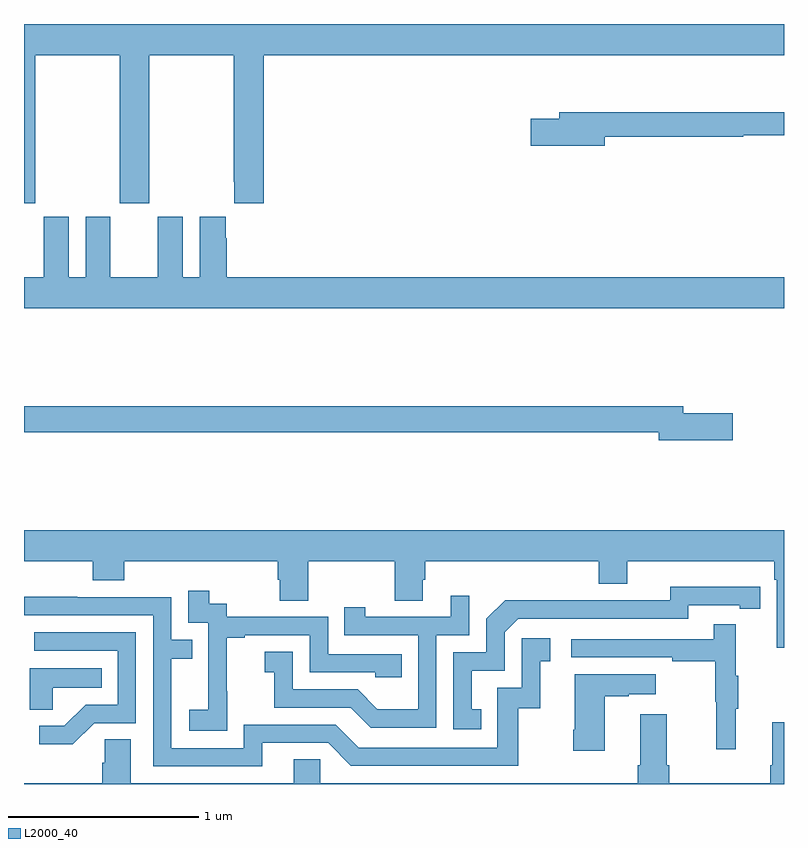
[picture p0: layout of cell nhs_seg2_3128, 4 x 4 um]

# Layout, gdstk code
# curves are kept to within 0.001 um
import gdstk
lib = gdstk.Library(unit=1e-6, precision=1e-09)
def P(c, l, *ps):  # polygons
    for p in ps: c.add(gdstk.Polygon(p, *l))
L2000_40 = (2000, 40)

nhs_seg2_3128 = lib.new_cell('nhs_seg2_3128')
P(nhs_seg2_3128, L2000_40, [(275,646.857),(275.058,646.857),(275.058,647.636),(275.503,647.636),(275.503,646.857),(275.658,646.857),(275.658,647.636),(276.103,647.636),(276.103,646.969),(276.107,646.969),(276.107,646.857),(276.263,646.857),(276.263,647.636),(279,647.636),(279,647.8),(275,647.8)],
  [(278.056,647.206),(278.786,647.206),(278.786,647.214),(279,647.214),(279,647.335),(277.817,647.335),(277.817,647.301),(277.668,647.301),(277.668,647.159),(278.056,647.159)],
  [(279,646.468),(276.068,646.468),(276.068,646.673),(276.061,646.673),(276.061,646.786),(275.924,646.786),(275.924,646.468),(275.836,646.468),(275.836,646.786),(275.705,646.786),(275.705,646.468),(275.455,646.468),(275.455,646.786),(275.324,646.786),(275.324,646.468),(275.236,646.468),(275.236,646.786),(275.105,646.786),(275.105,646.468),(275,646.468),(275,646.304),(279,646.304)],
  [(278.731,645.752),(278.47,645.752),(278.47,645.788),(275,645.788),(275,645.652),(278.342,645.652),(278.342,645.61),(278.731,645.61)],
  [(279,645.136),(275,645.136),(275,644.972),(275.363,644.972),(275.363,644.873),(275.528,644.873),(275.528,644.972),(276.335,644.972),(276.335,644.874),(276.347,644.874),(276.347,644.764),(276.495,644.764),(276.495,644.972),(276.952,644.972),(276.952,644.764),(277.099,644.764),(277.099,644.874),(277.112,644.874),(277.112,644.972),(278.024,644.972),(278.024,644.855),(278.176,644.855),(278.176,644.972),(278.948,644.972),(278.948,644.876),(278.961,644.876),(278.961,644.517),(279,644.517)],
  [(277.406,644.193),(277.357,644.193),(277.357,644.397),(277.53,644.397),(277.53,644.598),(277.602,644.67),(278.496,644.67),(278.496,644.742),(278.768,644.742),(278.768,644.722),(278.876,644.722),(278.876,644.838),(278.4,644.839),(278.4,644.766),(277.94,644.766),(277.94,644.768),(277.532,644.768),(277.434,644.67),(277.434,644.493),(277.26,644.493),(277.26,644.088),(277.406,644.088)],
  [(276.069,644.287),(276.068,644.287),(276.068,644.571),(276.163,644.571),(276.163,644.583),(276.504,644.583),(276.504,644.388),(276.849,644.388),(276.849,644.361),(276.989,644.361),(276.989,644.484),(276.6,644.484),(276.6,644.679),(276.066,644.679),(276.066,644.748),(275.974,644.748),(275.974,644.818),(275.865,644.818),(275.865,644.649),(275.97,644.649),(275.97,644.42),(275.969,644.42),(275.969,644.191),(275.871,644.191),(275.871,644.081),(276.069,644.081)],
  [(277.17,644.583),(277.344,644.583),(277.344,644.791),(277.247,644.791),(277.247,644.679),(276.796,644.679),(276.796,644.731),(276.685,644.731),(276.685,644.583),(277.074,644.583),(277.074,644.194),(276.86,644.194),(276.756,644.298),(276.414,644.298),(276.414,644.497),(276.267,644.497),(276.267,644.387),(276.316,644.387),(276.316,644.202),(276.719,644.202),(276.824,644.097),(277.17,644.097)],
  [(276.253,644.016),(276.6,644.016),(276.72,643.896),(277.6,643.896),(277.6,644.199),(277.718,644.199),(277.718,644.445),(277.771,644.445),(277.771,644.566),(277.62,644.566),(277.62,644.307),(277.491,644.307),(277.491,643.992),(276.762,643.992),(276.642,644.112),(276.156,644.112),(276.156,643.989),(275.775,643.989),(275.775,644.458),(275.885,644.458),(275.885,644.559),(275.775,644.559),(275.775,644.784),(275.279,644.784),(275.279,644.786),(275,644.786),(275,644.688),(275.679,644.688),(275.679,643.893),(276.253,643.893)],
  [(278.747,644.195),(278.758,644.195),(278.758,644.369),(278.747,644.369),(278.747,644.641),(278.629,644.641),(278.629,644.562),(277.881,644.562),(277.881,644.466),(278.413,644.466),(278.413,644.446),(278.637,644.446),(278.637,644.232),(278.644,644.232),(278.644,643.983),(278.747,643.983)],
  [(275.37,644.121),(275.589,644.121),(275.589,644.598),(275.055,644.598),(275.055,644.502),(275.493,644.502),(275.493,644.217),(275.324,644.217),(275.213,644.106),(275.079,644.106),(275.079,644.009),(275.257,644.009)],
  [(275.151,644.306),(275.408,644.306),(275.408,644.41),(275.03,644.41),(275.03,644.191),(275.151,644.191)],
  [(278.056,644.263),(278.183,644.263),(278.183,644.273),(278.326,644.273),(278.326,644.377),(277.898,644.377),(277.898,644.086),(277.891,644.086),(277.891,643.974),(278.056,643.974)],
  [(279,644.125),(278.939,644.125),(278.939,643.9),(278.927,643.9),(278.927,643.804),(278.396,643.804),(278.396,643.9),(278.383,643.9),(278.383,644.167),(278.243,644.167),(278.243,643.9),(278.231,643.9),(278.231,643.804),(276.558,643.804),(276.558,643.931),(276.419,643.931),(276.419,643.804),(275.563,643.804),(275.563,644.036),(275.424,644.036),(275.424,643.913),(275.411,643.913),(275.411,643.804),(275,643.804),(275,643.8),(279,643.8)])

lib.write_gds('nhs_seg2_3128.gds')
